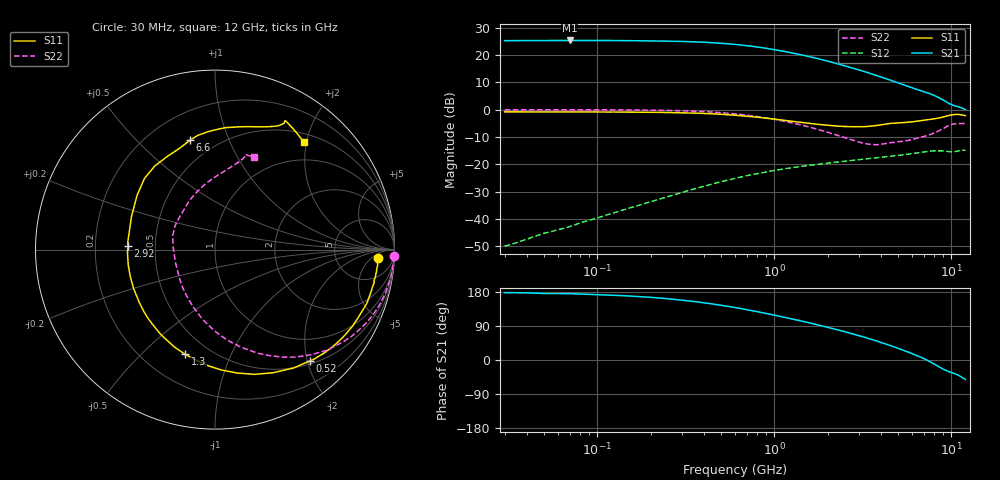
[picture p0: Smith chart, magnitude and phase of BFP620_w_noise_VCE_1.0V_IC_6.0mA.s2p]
! Infineon Technologies  Discrete & RF Semiconductors
! BFP620
! VCE =  1.0 V,  IC =  6.0 mA
! Common Emitter S-Parameters:  Nov 2015
# GHz  S  MA  R  50
!  f  S11  S21  S12  S22
! GHz  MAG  ANG  MAG  ANG  MAG  ANG  MAG  ANG
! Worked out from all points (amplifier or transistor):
!   239 points, 30 MHz to 12 GHz, reference 50 ohm
!   highest |S21| = 25.3 dB at 70 MHz (marker M1)
!   |S21| within 3 dB of that: start of sweep to 928.3 MHz
!   unconditionally stable (mu >= 1): 5.057 GHz to end of sweep
!   at 300 MHz: K = 0.09, MSG = 27.6 dB, |S12| = -30.3 dB
!   at 1.88 GHz: K = 0.56, MSG = 19.0 dB, |S12| = -19.8 dB
!   at 12 GHz: K = 1.19, MAG = 4.8 dB, |S12| = -14.9 dB
!   lowest NFmin = 0.65 dB at 450 MHz
!   S11 on the Smith chart (normalised r, x): 30 MHz: 17, -9; 520 MHz: 0.55, -2.05; 1.3 GHz: 0.37, -0.69; 2.92 GHz: 0.35, +0.02; 6.6 GHz: 0.37, +0.73; 12 GHz: 0.64, +1.95
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0.03  0.9108 -2.9  18.22 177.8  0.0032 86.3  0.9959 -2.2
0.04  0.906 -4.0  18.31 177.2  0.0043 87.4  0.996 -2.9
0.05  0.9072 -4.6  18.29 175.5  0.0055 88.7  0.9961 -3.6
0.07  0.9072 -6.8  18.36 175.1  0.0073 85.6  0.9955 -5.1
0.085  0.9071 -8.3  18.3 173.7  0.009 85.8  0.9946 -6.2
0.145  0.9011 -14.2  18.21 169.4  0.0152 82.7  0.9879 -10.7
0.24  0.8875 -23.3  17.88 162.4  0.0247 77.7  0.9694 -17.8
0.36  0.8625 -34.9  17.29 153.8  0.0362 71.6  0.9341 -26.3
0.52  0.8158 -49.4  16.16 143.3  0.0497 63.9  0.8715 -36.8
0.6  0.7917 -56.4  15.58 138.4  0.0557 60.5  0.8383 -42.0
0.7  0.7589 -64.7  14.77 132.7  0.0622 56.6  0.7926 -47.7
0.9  0.6984 -79.9  13.21 122.7  0.0729 49.8  0.7043 -58.2
1.1  0.6475 -93.6  11.81 114.2  0.0813 44.4  0.6276 -67.2
1.3  0.6067 -105.9  10.63 107.0  0.0881 40.1  0.5604 -75.3
1.64  0.5528 -125.5  9.028 96.2  0.0974 34.1  0.4656 -88.2
2.2  0.5043 -153.4  7.098 81.5  0.1089 26.9  0.3502 -108.8
2.92  0.4867 177.4  5.469 65.9  0.1205 19.6  0.2633 -136.3
3.5  0.5004 158.4  4.558 54.8  0.1288 14.6  0.2321 -161.3
4.5  0.5584 134.7  3.471 38.2  0.1401 6.7  0.2486 161.7
6.6  0.6256 102.7  2.262 9.0  0.1639 -8.4  0.3081 117.2
8.6  0.7092 75.0  1.619 -19.1  0.1767 -27.2  0.417 87.4
12  0.778 50.6  1 -51.3  0.1804 -48.2  0.5624 67.0
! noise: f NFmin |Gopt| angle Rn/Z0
0.45  0.65  0.4  4  0.14
0.9  0.68  0.35  10  0.05
1.9  0.7  0.22  32  0.01
2.4  0.73  0.17  55  0.11
3.5  0.81  0.07  98  0.12
5.5  1.18  0.1  -162  0.13
10  1.8  0.6  -55  0.76
